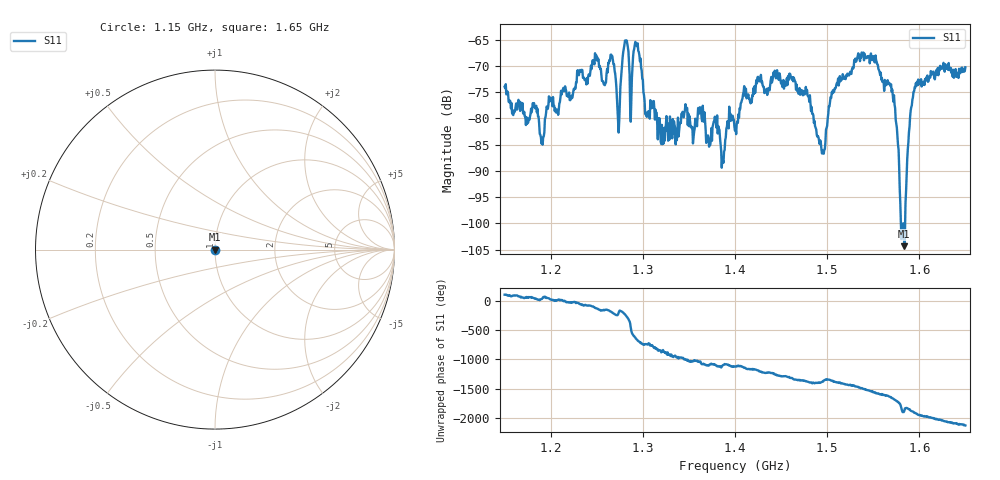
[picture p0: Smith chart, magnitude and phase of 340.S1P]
! C:\Users\rflab\Downloads\Lab5_KD_ZW\Q2\340.S1P
! Touchstone 1.1 file saved by VNA.EXE V1.65 (www.ke5fx.com/gpib/readme.htm)
! 11/12/2024 1:33:00 AM
!  Source: HEWLETT PACKARD,8753D,0,6.14
!  Min freq: 1.150000E+009 Hz
!  Max freq: 1.650000E+009 Hz
!  Points: 801
!  Params: S21
# GHZ S RI R 50
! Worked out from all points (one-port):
!   801 points, 1.15 GHz to 1.65 GHz, reference 50 ohm
!   lowest |S11| = -104.3 dB at 1.584 GHz (marker M1), VSWR 1.00, Z = 50 - j0.0006 ohm
!   |S11| at or under -10 dB: start of sweep to end of sweep
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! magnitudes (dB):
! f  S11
! 1.15 GHz  -74.0
! 1.175 GHz  -80.9
! 1.207 GHz  -78.3
! 1.212 GHz  -74.8
! 1.223 GHz  -76.2
! 1.231 GHz  -71.0
! 1.239 GHz  -72.3
! 1.249 GHz  -68.0
! 1.258 GHz  -73.6
! 1.265 GHz  -67.9
! 1.272 GHz  -78.2
! 1.275 GHz  -77.3
! 1.281 GHz  -65.2
! 1.287 GHz  -80.6
! 1.293 GHz  -66.0
! 1.305 GHz  -78.8
! 1.337 GHz  -82.6
! 1.4 GHz  -82.3
! 1.426 GHz  -72.4
! 1.462 GHz  -72.1
! 1.498 GHz  -84.4
! 1.511 GHz  -73.3
! 1.525 GHz  -71.1
! 1.55 GHz  -68.1
! 1.584 GHz  -104.3
! 1.587 GHz  -85.9
! 1.599 GHz  -72.6
! 1.65 GHz  -70.3
